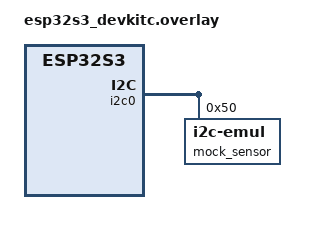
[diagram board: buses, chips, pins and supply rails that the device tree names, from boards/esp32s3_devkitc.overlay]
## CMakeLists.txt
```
# SPDX-License-Identifier: Apache-2.0

cmake_minimum_required(VERSION 3.20.0)
find_package(Zephyr REQUIRED HINTS $ENV{ZEPHYR_BASE})
project(device)

target_include_directories(app PRIVATE include)
target_sources(app
  PRIVATE
    src/shell_module.c
    src/main.c
)
```

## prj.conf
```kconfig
# Enable all dependencies for UART_CONSOLE
CONFIG_SHELL=y
CONFIG_UART_CONSOLE=y
CONFIG_SHELL_BACKEND_SERIAL=y
CONFIG_SHELL_PROMPT_UART="uart:~$ "

# native POSIX UART backend to connect UART_0 to the host's stdin/stdout via a pseudoterminal (PTY)
CONFIG_UART_NATIVE_PTY_0_ON_STDINOUT=y
```

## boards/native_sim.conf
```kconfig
# Copyright (c) 2020 Nordic Semiconductor ASA
# SPDX-License-Identifier: Apache-2.0

CONFIG_EMUL=y
CONFIG_I2C=y
CONFIG_SENSOR=y
CONFIG_BMI160_TRIGGER_NONE=y
```

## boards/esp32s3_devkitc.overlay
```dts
&i2c0 {
    status = "okay";

    mock_sensor: mock_sensor@50 {
        compatible = "zephyr,i2c-emul";
        reg = <0x50>;
        label = "mock_sensor";
    };
};
```

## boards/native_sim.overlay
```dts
/* Copyright (c) 2020 Nordic Semiconductor ASA
 * SPDX-License-Identifier: Apache-2.0
 */

/ {
	aliases {
		accel-1 = &bmi_i2c;
	};
};

&i2c0 {
	bmi_i2c: bmi@68 {
		compatible = "bosch,bmi160";
		reg = <0x68>;
	};
};
```

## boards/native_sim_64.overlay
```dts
/* Copyright (c) 2020 Nordic Semiconductor ASA
 * SPDX-License-Identifier: Apache-2.0
 */

/ {
	aliases {
		accel-1 = &bmi_i2c;
	};
};

&i2c0 {
	status = "okay";
	bmi_i2c: bmi@68 {
		compatible = "bosch,bmi160";
		reg = <0x68>;
	};
};
```

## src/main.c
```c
/*
 * Copyright 2023 Google LLC
 *
 * SPDX-License-Identifier: Apache-2.0
 */

#include <zephyr/drivers/emul_sensor.h>
#include <zephyr/drivers/sensor.h>
#include <zephyr/drivers/i2c_emul.h>
#include <zephyr/drivers/emul.h>
#include <zephyr/sys/printk.h>


// Simulate a proper I2C device by using an array to represent the register space
static uint8_t bmi160_regs[256];

// Universal I2C transfer mock with 8-bit register space
static int mock_i2c_transfer(const struct emul *target, struct i2c_msg *msgs, int num_msgs, int addr)
{
    ARG_UNUSED(target);
    ARG_UNUSED(addr);
    
    // Handle address probe (zero-length write for 'i2c scan' command)
    if (num_msgs == 1 && msgs[0].len == 0 && !(msgs[0].flags & I2C_MSG_READ)) {
        // Acknowledge the probe
        printk("I2C probe at address 0x%02X\n", addr);
        return 0;
    }

    if (num_msgs != 2) {
        return -ENOSYS;
    }

    uint8_t reg_addr = msgs[0].buf[0];

    // Write operation
    if (!(msgs[1].flags & I2C_MSG_READ)) {
        bmi160_regs[reg_addr] = msgs[1].buf[0];
        //printk("mock_i2c_transfer: wrote 0x%02X to reg 0x%02X\n", msgs[1].buf[0], reg_addr);
        return 0;
    }

    // Read operation
    if (msgs[1].flags & I2C_MSG_READ) {
        msgs[1].buf[0] = bmi160_regs[reg_addr];
        //printk("mock_i2c_transfer: read 0x%02X from reg 0x%02X\n", msgs[1].buf[0], reg_addr);
        return 0;
    }

    return -ENOSYS;
}

// User-configurable variables for universal I2C testing
static int user_mem_address = 0x68;         // I2C register address to write/read
static int user_mem_value = 0x55;           // Value to write
static int user_mem_cell_to_read = 0x68;    // I2C register address to read

// Universal I2C write operation
int custom_i2c_write(const struct emul *target, int reg_addr, int value) {
    struct i2c_msg msgs[2];
    uint8_t reg = reg_addr;
    uint8_t val = value;
    msgs[0].buf = &reg;
    msgs[0].len = 1;
    msgs[0].flags = 0; // Read register address
    msgs[1].buf = &val;
    msgs[1].len = 1;
    msgs[1].flags = 0; // Write operation

    printk("I2C emulator write to address: 0x%02X with value: 0x%02X\n", reg_addr, value); 

    // You can change the last argument to be the I2C device address if needed
    return mock_i2c_transfer(target, msgs, 2, reg_addr);
}

// Universal I2C read operation
int custom_i2c_read(const struct emul *target, int reg_addr) {
    struct i2c_msg msgs[2];
    uint8_t reg = reg_addr;
    uint8_t read_buf = 0;
    msgs[0].buf = &reg;
    msgs[0].len = 1;
    msgs[0].flags = 0; // Read register address
    msgs[1].buf = &read_buf;  // READ value from I2C
    msgs[1].len = 1;
    msgs[1].flags = I2C_MSG_READ;

    int ret = mock_i2c_transfer(target, msgs, 2, reg_addr);
    if (ret == 0) {
        printk("I2C emulator read from address: 0x%02X with value: 0x%02X\n", reg_addr, read_buf); 
        return read_buf;
    }
    return ret;
}

int main(void)
{
	// Get the emulator instance by label
    const struct emul *emul_i2c = emul_get_binding("bmi@68");
    if (!emul_i2c) {
        printk("I2C emulator not found!\n");
        return 0;
    }
    else {
        printk("I2C emulator found and binded.\n");
    }

    struct i2c_emul *i2c_emul_inst = (struct i2c_emul *)emul_i2c;

    // Assign your mock API to the emulator
    struct i2c_emul_api mock_bus_api = {
        .transfer = mock_i2c_transfer,
        // TODO! You can add .configure, .init, etc. if needed
    };

    i2c_emul_inst->api = &mock_bus_api;

    // Test code to demonstrate read/write operations
    // Perform custom write if address is set
    if (user_mem_address >= 0) {
        int ret = custom_i2c_write(emul_i2c, user_mem_address, user_mem_value);      
        if (ret < 0) {
            printk("I2C write operation failed with error %d\n", ret);
        }
    }

    // Perform custom read if cell is set
    if (user_mem_cell_to_read >= 0) {
        int ret = custom_i2c_read(emul_i2c, user_mem_cell_to_read);     
        if (ret < 0) {
            printk("I2C read operation failed with error %d\n", ret);
        }
    }

    // Perform custom write if address is set
    if (user_mem_address >= 0) {
        int ret = custom_i2c_write(emul_i2c, 0x69, 0x56);      
        if (ret < 0) {
            printk("I2C write operation failed with error %d\n", ret);
        }
    }

    // Perform custom read if cell is set
    if (user_mem_cell_to_read >= 0) {
        int ret = custom_i2c_read(emul_i2c, 0x69);     
        if (ret < 0) {
            printk("I2C read operation failed with error %d\n", ret);
        }
    }
    return 0;
}
```

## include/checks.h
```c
/*
 * Copyright 2023 Google LLC
 *
 * SPDX-License-Identifier: Apache-2.0
 */

#ifndef TEST_DRIVERS_SENSOR_ACCEL_INCLUDE_CHECKS_H_
#define TEST_DRIVERS_SENSOR_ACCEL_INCLUDE_CHECKS_H_

#include <zephyr/drivers/i2c.h>

#include "bmi160.h"

static inline bool bmi160_i2c_is_touching_reg(struct i2c_msg *msgs, int num_msgs, int reg)
{
	__ASSERT_NO_MSG(num_msgs == 2);
	__ASSERT_NO_MSG(msgs[0].len == 1);

	uint8_t start_reg = msgs[0].buf[0];

	return (start_reg <= reg) && (reg < start_reg + msgs[1].len);
}

#endif /* TEST_DRIVERS_SENSOR_ACCEL_INCLUDE_CHECKS_H_ */
```

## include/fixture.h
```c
/*
 * Copyright 2023 Google LLC
 *
 * SPDX-License-Identifier: Apache-2.0
 */

#ifndef TEST_DRIVERS_SENSOR_ACCEL_INCLUDE_FIXTURE_H_
#define TEST_DRIVERS_SENSOR_ACCEL_INCLUDE_FIXTURE_H_

#include <zephyr/device.h>
#include <zephyr/drivers/emul.h>

struct bmi160_fixture {
	const struct device *dev_i2c;
	const struct emul *emul_i2c;
};

#endif /* TEST_DRIVERS_SENSOR_ACCEL_INCLUDE_FIXTURE_H_ */
```

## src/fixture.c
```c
/*
 * Copyright 2023 Google LLC
 *
 * SPDX-License-Identifier: Apache-2.0
 */

#include "fixture.h"

#include <zephyr/drivers/emul_sensor.h>
#include <zephyr/drivers/sensor.h>

static void sensor_bmi160_setup_emulator(const struct device *dev, const struct emul *emulator)
{
	static struct {
		enum sensor_channel channel;
		q31_t value;
	} values[] = {
		{SENSOR_CHAN_ACCEL_X, 0},       {SENSOR_CHAN_ACCEL_Y, 1 << 28},
		{SENSOR_CHAN_ACCEL_Z, 2 << 28}, {SENSOR_CHAN_GYRO_X, 3 << 28},
		{SENSOR_CHAN_GYRO_Y, 4 << 28},  {SENSOR_CHAN_GYRO_Z, 5 << 28},
	};
	static struct sensor_value scale;

	/* 4g */
	scale.val1 = 39;
	scale.val2 = 226600;

	/* 125 deg/s */
	scale.val1 = 2;
	scale.val2 = 181661;
}

static void *bmi160_setup(void)
{
	static struct bmi160_fixture fixture = {
		.dev_i2c = DEVICE_DT_GET(DT_ALIAS(accel_1)),
		.emul_i2c = EMUL_DT_GET(DT_ALIAS(accel_1)),
	};

	sensor_bmi160_setup_emulator(fixture.dev_i2c, fixture.emul_i2c);

	return &fixture;
}
```

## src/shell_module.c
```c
#include <zephyr/shell/shell.h>
#include <zephyr/drivers/emul.h>
#include <zephyr/drivers/i2c_emul.h>
#include <zephyr/sys/printk.h>
#include <stdlib.h>

// External functions from main.c
extern int custom_i2c_write(const struct emul *target, int reg_addr, int value);
extern int custom_i2c_read(const struct emul *target, int reg_addr);

// Emulator binding
static const struct emul *emul_i2c = NULL;

// Shell command: i2c_write <reg> <val>
static int cmd_i2c_write(const struct shell *shell, size_t argc, char **argv)
{
    if (argc != 3) {
        shell_error(shell, "Usage: i2c_write <reg> <val>");
        return -EINVAL;
    }

    int reg = strtol(argv[1], NULL, 0);
    int val = strtol(argv[2], NULL, 0);

    if (!emul_i2c) {
        emul_i2c = emul_get_binding("bmi@68");
        if (!emul_i2c) {
            shell_error(shell, "I2C emulator not found");
            return -ENODEV;
        }
    }

    int ret = custom_i2c_write(emul_i2c, reg, val);
    if (ret < 0) {
        shell_error(shell, "Write failed with error %d", ret);
    } else {
        shell_print(shell, "Write successful to reg 0x%02X with value 0x%02X", reg, val);
    }

    return ret;
}

// Shell command: i2c_read <reg>
static int cmd_i2c_read(const struct shell *shell, size_t argc, char **argv)
{
    if (argc != 2) {
        shell_error(shell, "Usage: i2c_read <reg>");
        return -EINVAL;
    }

    int reg = strtol(argv[1], NULL, 0);

    if (!emul_i2c) {
        emul_i2c = emul_get_binding("bmi@68");
        if (!emul_i2c) {
            shell_error(shell, "I2C emulator not found");
            return -ENODEV;
        }
    }

    int ret = custom_i2c_read(emul_i2c, reg);
    if (ret < 0) {
        shell_error(shell, "Read failed with error %d", ret);
    } else {
        shell_print(shell, "Read from reg 0x%02X returned value 0x%02X", reg, ret);
    }

    return 0;
}

// Register shell commands
SHELL_CMD_ARG_REGISTER(i2c_write, NULL, "Write I2C register: i2c_write <reg> <val>", cmd_i2c_write, 3, 0);
SHELL_CMD_ARG_REGISTER(i2c_read, NULL, "Read I2C register: i2c_read <reg>", cmd_i2c_read, 2, 0);
```
